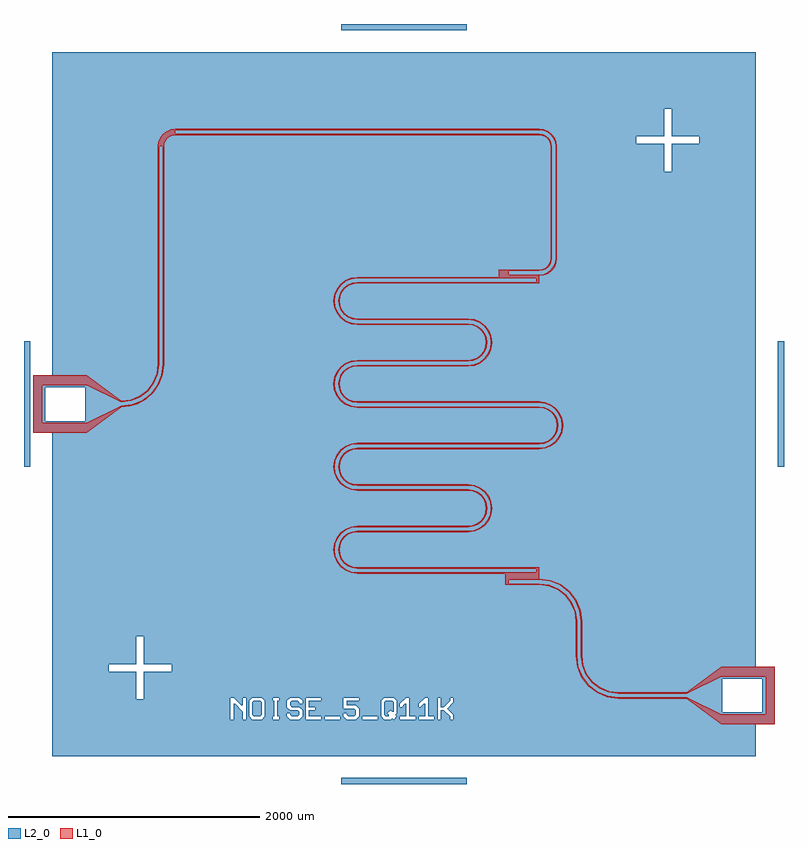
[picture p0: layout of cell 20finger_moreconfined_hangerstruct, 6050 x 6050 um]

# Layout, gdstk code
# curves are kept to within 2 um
import gdstk
lib = gdstk.Library(unit=1e-6, precision=1e-09)
def R(c, l, rs):  # rectangles x0, y0, x1, y1
    for r in rs: c.add(gdstk.rectangle(r[:2], r[2:], *l))
def P(c, l, *ps):  # polygons
    for p in ps: c.add(gdstk.Polygon(p, *l))
L1_0 = (1, 0)
L2_0 = (2, 0)

c_20finger_moreconfined_ha = lib.new_cell('20finger_moreconfined_hangerstruct')
P(c_20finger_moreconfined_ha, L1_0, [(2525,-2550),(2250,-2345),(1706.845,-2345),(1619.479,-2333.499),(1537.457,-2299.523),(1467.023,-2245.477),(1412.977,-2175.043),(1379.001,-2093.021),(1367.5,-2005.655),(1367.5,-1730.652),(1357.536,-1654.967),(1328.573,-1585.045),(1282.499,-1525.001),(1222.455,-1478.927),(1152.533,-1449.964),(1076.848,-1440),(807.5,-1440),(807.5,-1400),(832.5,-1400),(832.5,-1430),(1077.5,-1430),(1155.146,-1440.222),(1227.5,-1470.192),(1289.632,-1517.868),(1337.308,-1580),(1367.278,-1652.354),(1377.5,-1730),(1377.5,-2005),(1388.744,-2090.41),(1421.712,-2170),(1474.155,-2238.345),(1542.5,-2290.788),(1622.09,-2323.756),(1707.5,-2335),(2250,-2335),(2525,-2470),(2880,-2470),(2880,-2170),(2525,-2170),(2250,-2305),(1707.5,-2305),(1629.854,-2294.778),(1557.5,-2264.808),(1495.368,-2217.132),(1447.692,-2155),(1417.722,-2082.646),(1407.5,-2005),(1407.5,-1730),(1396.256,-1644.59),(1363.288,-1565),(1310.845,-1496.655),(1242.5,-1444.212),(1162.91,-1411.244),(1077.5,-1400),(807.5,-1400),(807.5,-1350),(1077.5,-1350),(1077.5,-1390),(1165.521,-1401.501),(1247.543,-1435.477),(1317.977,-1489.523),(1372.023,-1559.957),(1405.999,-1641.979),(1417.5,-1729.345),(1417.5,-2004.348),(1427.464,-2080.033),(1456.427,-2149.955),(1502.501,-2209.999),(1562.545,-2256.073),(1632.467,-2285.036),(1708.152,-2295),(2250,-2295),(2525,-2090),(2950,-2090),(2950,-2550)],
  [(-372.5,-1350),(-421.676,-1343.526),(-467.5,-1324.545),(-506.85,-1294.35),(-537.045,-1255),(-556.026,-1209.176),(-562.5,-1160),(-556.026,-1110.824),(-537.045,-1065),(-506.85,-1025.65),(-467.5,-995.455),(-421.676,-976.474),(-372.5,-970),(512.5,-970),(548.735,-965.23),(582.5,-951.244),(611.495,-928.995),(633.744,-900),(647.73,-866.235),(652.5,-830),(647.73,-793.765),(633.744,-760),(611.495,-731.005),(582.5,-708.756),(548.735,-694.77),(512.5,-690),(-372.5,-690),(-421.676,-683.526),(-467.5,-664.545),(-506.85,-634.35),(-537.045,-595),(-556.026,-549.176),(-562.5,-500),(-556.026,-450.824),(-537.045,-405),(-506.85,-365.65),(-467.5,-335.455),(-421.676,-316.474),(-372.5,-310),(1077.5,-310),(1113.735,-305.23),(1147.5,-291.244),(1176.495,-268.995),(1198.744,-240),(1212.73,-206.235),(1217.5,-170),(1212.73,-133.765),(1198.744,-100),(1176.495,-71.005),(1147.5,-48.756),(1113.735,-34.77),(1077.5,-30),(-372.5,-30),(-425.885,-22.346),(-474.97,0),(-512.298,31.328),(-540.43,71.121),(-557.515,116.761),(-562.428,165.246),(-554.846,213.385),(-535.268,258.013),(-504.983,296.192),(-465.981,325.412),(-420.83,343.75),(-372.5,350),(512.5,350),(548.735,354.77),(582.5,368.756),(611.495,391.005),(633.744,420),(647.73,453.765),(652.5,490),(647.73,526.235),(633.744,560),(611.495,588.995),(582.5,611.244),(548.735,625.23),(512.5,630),(-372.5,630),(-421.676,636.474),(-467.5,655.455),(-506.85,685.65),(-537.045,725),(-556.026,770.824),(-562.5,820),(-556.026,869.176),(-537.045,915),(-506.85,954.35),(-467.5,984.545),(-430.188,1000),(-372.5,1000),(-419.087,993.867),(-462.5,975.885),(-499.779,947.279),(-528.385,910),(-546.367,866.587),(-552.5,820),(-546.367,773.413),(-528.385,730),(-499.779,692.721),(-462.5,664.115),(-419.087,646.133),(-372.5,640),(512.5,640),(551.323,634.889),(587.5,619.904),(618.566,596.066),(642.404,565),(657.389,528.823),(662.5,490),(657.389,451.177),(642.404,415),(618.566,383.934),(587.5,360.096),(551.323,345.111),(512.5,340),(-372.5,340),(-419.087,333.867),(-462.5,315.885),(-499.779,287.279),(-528.385,250),(-546.367,206.587),(-552.5,160),(-546.367,113.413),(-528.385,70),(-499.779,32.721),(-462.5,4.115),(-419.087,-13.867),(-372.5,-20),(1077.5,-20),(1116.323,-25.111),(1152.5,-40.096),(1183.566,-63.934),(1207.404,-95),(1222.389,-131.177),(1227.5,-170),(1222.389,-208.823),(1207.404,-245),(1183.566,-276.066),(1152.5,-299.904),(1116.323,-314.889),(1077.5,-320),(-372.5,-320),(-419.087,-326.133),(-462.5,-344.115),(-499.779,-372.721),(-528.385,-410),(-546.367,-453.413),(-552.5,-500),(-546.367,-546.587),(-528.385,-590),(-499.779,-627.279),(-462.5,-655.885),(-419.087,-673.867),(-372.5,-680),(512.5,-680),(551.323,-685.111),(587.5,-700.096),(618.566,-723.934),(642.404,-755),(657.389,-791.177),(662.5,-830),(657.389,-868.823),(642.404,-905),(618.566,-936.066),(587.5,-959.904),(551.323,-974.889),(512.5,-980),(-372.5,-980),(-419.087,-986.133),(-462.5,-1004.115),(-499.779,-1032.721),(-528.385,-1070),(-546.367,-1113.413),(-552.5,-1160),(-546.367,-1206.587),(-528.385,-1250),(-499.779,-1287.279),(-462.5,-1315.885),(-419.087,-1333.867),(-372.5,-1340),(1052.5,-1340),(1052.5,-1310),(-372.5,-1310),(-411.323,-1304.889),(-447.5,-1289.904),(-478.566,-1266.066),(-502.404,-1235),(-517.389,-1198.823),(-522.5,-1160),(-517.389,-1121.177),(-502.404,-1085),(-478.566,-1053.934),(-447.5,-1030.096),(-411.323,-1015.111),(-372.5,-1010),(512.5,-1010),(559.087,-1003.867),(602.5,-985.885),(639.779,-957.279),(668.385,-920),(686.367,-876.587),(692.5,-830),(686.367,-783.413),(668.385,-740),(639.779,-702.721),(602.5,-674.115),(559.087,-656.133),(512.5,-650),(-372.5,-650),(-411.323,-644.889),(-447.5,-629.904),(-478.566,-606.066),(-502.404,-575),(-517.389,-538.823),(-522.5,-500),(-517.389,-461.177),(-502.404,-425),(-478.566,-393.934),(-447.5,-370.096),(-411.323,-355.111),(-372.5,-350),(1077.5,-350),(1124.087,-343.867),(1167.5,-325.885),(1204.779,-297.279),(1233.385,-260),(1251.367,-216.587),(1257.5,-170),(1251.367,-123.413),(1233.385,-80),(1204.779,-42.721),(1167.5,-14.115),(1124.087,3.867),(1077.5,10),(-372.5,10),(-411.323,15.111),(-447.5,30.096),(-478.566,53.934),(-502.404,85),(-517.389,121.177),(-522.5,160),(-517.389,198.823),(-502.404,235),(-478.566,266.066),(-447.5,289.904),(-411.323,304.889),(-372.5,310),(512.5,310),(559.087,316.133),(602.5,334.115),(639.779,362.721),(668.385,400),(686.367,443.413),(692.5,490),(686.367,536.587),(668.385,580),(639.779,617.279),(602.5,645.885),(559.087,663.867),(512.5,670),(-372.5,670),(-411.323,675.111),(-447.5,690.096),(-478.566,713.934),(-502.404,745),(-517.389,781.177),(-522.5,820),(-517.389,858.823),(-502.404,895),(-478.566,926.066),(-447.5,949.904),(-411.323,964.889),(-372.5,970),(1052.5,970),(1052.5,1000),(-430.188,1000),(-421.676,1003.526),(-372.5,1010),(752.5,1010),(752.5,1070),(1077.5,1070),(1100.794,1073.067),(1122.5,1082.058),(1141.14,1096.36),(1155.442,1115),(1164.433,1136.706),(1167.5,1160),(1167.5,2050),(1164.433,2073.294),(1155.442,2095),(1141.14,2113.64),(1122.5,2127.942),(1100.794,2136.933),(1077.5,2140),(-1820,2140),(-1843.294,2136.933),(-1865,2127.942),(-1883.64,2113.64),(-1897.942,2095),(-1906.933,2073.294),(-1910,2050),(-1910,315),(-1919.503,235.177),(-1947.48,159.817),(-1992.369,93.13),(-2051.658,38.847),(-2122.035,0),(-2184.808,-18.691),(-2250,-25),(-2525,-230),(-2950,-230),(-2950,230),(-2525,230),(-2250,25),(-2174.942,34.882),(-2105,63.853),(-2044.939,109.939),(-1998.853,170),(-1969.882,239.942),(-1960,315),(-1960,2050),(-1950,2050),(-1950,315),(-1960.222,237.354),(-1990.192,165),(-2037.868,102.868),(-2100,55.192),(-2172.354,25.222),(-2250,15),(-2525,150),(-2880,150),(-2880,-150),(-2525,-150),(-2250,-15),(-2164.59,-3.756),(-2085,29.212),(-2016.655,81.655),(-1964.212,150),(-1931.244,229.59),(-1920,315),(-1920,2050),(-1960,2050),(-1955.23,2086.235),(-1941.244,2120),(-1918.995,2148.995),(-1890,2171.244),(-1868.861,2180),(-1820,2180),(-1820,2150),(1077.5,2150),(1103.382,2146.593),(1127.5,2136.603),(1148.211,2120.711),(1164.103,2100),(1174.093,2075.882),(1177.5,2050),(1177.5,1160),(1174.093,1134.118),(1164.103,1110),(1148.211,1089.289),(1127.5,1073.397),(1103.382,1063.407),(1077.5,1060),(832.5,1060),(832.5,1030),(1077.5,1030),(1111.146,1034.43),(1142.5,1047.417),(1169.424,1068.076),(1190.083,1095),(1203.07,1126.354),(1207.5,1160),(1207.5,2050),(1203.07,2083.646),(1190.083,2115),(1169.424,2141.924),(1142.5,2162.583),(1111.146,2175.57),(1077.5,2180),(-1868.861,2180),(-1856.235,2185.23),(-1820,2190),(1077.5,2190),(1113.735,2185.23),(1147.5,2171.244),(1176.495,2148.995),(1198.744,2120),(1212.73,2086.235),(1217.5,2050),(1217.5,1160),(1212.73,1123.765),(1198.744,1090),(1176.495,1061.005),(1147.5,1038.756),(1113.735,1024.77),(1077.5,1020),(1077.5,960),(-372.5,960),(-408.735,955.23),(-442.5,941.244),(-471.495,918.995),(-493.744,890),(-507.73,856.235),(-512.5,820),(-507.73,783.765),(-493.744,750),(-471.495,721.005),(-442.5,698.756),(-408.735,684.77),(-372.5,680),(512.5,680),(561.676,673.526),(607.5,654.545),(646.85,624.35),(677.045,585),(696.026,539.176),(702.5,490),(696.026,440.824),(677.045,395),(646.85,355.65),(607.5,325.455),(561.676,306.474),(512.5,300),(-372.5,300),(-408.735,295.23),(-442.5,281.244),(-471.495,258.995),(-493.744,230),(-507.73,196.235),(-512.5,160),(-507.73,123.765),(-493.744,90),(-471.495,61.005),(-442.5,38.756),(-408.735,24.77),(-372.5,20),(1077.5,20),(1121.089,14.932),(1162.353,0),(1204.118,-28.339),(1236.949,-66.675),(1258.527,-112.302),(1267.33,-161.989),(1267.33,-178.012),(1259.187,-225.585),(1239.313,-269.582),(1208.991,-307.15),(1170.181,-335.862),(1125.386,-353.867),(1077.5,-360),(-372.5,-360),(-408.735,-364.77),(-442.5,-378.756),(-471.495,-401.005),(-493.744,-430),(-507.73,-463.765),(-512.5,-500),(-507.73,-536.235),(-493.744,-570),(-471.495,-598.995),(-442.5,-621.244),(-408.735,-635.23),(-372.5,-640),(512.5,-640),(561.676,-646.474),(607.5,-665.455),(646.85,-695.65),(677.045,-735),(696.026,-780.824),(702.5,-830),(696.026,-879.176),(677.045,-925),(646.85,-964.35),(607.5,-994.545),(561.676,-1013.526),(512.5,-1020),(-372.5,-1020),(-408.735,-1024.77),(-442.5,-1038.756),(-471.495,-1061.005),(-493.744,-1090),(-507.73,-1123.765),(-512.5,-1160),(-507.73,-1196.235),(-493.744,-1230),(-471.495,-1258.995),(-442.5,-1281.244),(-408.735,-1295.23),(-372.5,-1300),(1077.5,-1300),(1077.5,-1350)],
  [(-1950,2050),(-1945.57,2083.646),(-1932.583,2115),(-1911.924,2141.924),(-1885,2162.583),(-1853.646,2175.57),(-1820,2180),(-1820,2150),(-1845.882,2146.593),(-1870,2136.603),(-1890.711,2120.711),(-1906.603,2100),(-1916.593,2075.882),(-1920,2050)])
R(c_20finger_moreconfined_ha, L2_0, [(-500,-3025,500,-2975), (-3025,-500,-2975,500), (2975,-500,3025,500), (-500,2975,500,3025)])
P(c_20finger_moreconfined_ha, L2_0, [(-1194.76,-2487.38),(-1207.26,-2474.88),(-1207.26,-2374.88),(-1194.76,-2362.38),(-1144.76,-2362.38),(-1132.26,-2374.88),(-1132.26,-2474.88),(-1144.76,-2487.38)],
  [(-144.76,-2487.38),(-157.26,-2474.88),(-157.26,-2374.88),(-144.76,-2362.38),(-94.76,-2362.38),(-82.26,-2374.88),(-82.26,-2449.88),(-94.76,-2449.88),(-107.26,-2437.38),(-132.26,-2462.38),(-119.76,-2474.88),(-119.76,-2487.38)],
  [(-2798.631,-2805.134),(-2798.631,-1850),(-2130,-1850),(-2130,-2070),(-2350,-2070),(-2350,-2130),(-2130,-2130),(-2130,-2350),(-2070,-2350),(-2070,-2337.38),(-1282.26,-2337.38),(-1282.26,-2399.88),(-1294.76,-2399.88),(-1357.26,-2337.38),(-1382.26,-2337.38),(-1382.26,-2512.38),(-1357.26,-2512.38),(-1357.26,-2387.38),(-1344.76,-2387.38),(-1282.26,-2449.88),(-1282.26,-2512.38),(-1257.26,-2512.38),(-1257.26,-2337.38),(-1207.26,-2337.38),(-1232.26,-2362.38),(-1232.26,-2487.38),(-1207.26,-2512.38),(-1132.26,-2512.38),(-1107.26,-2487.38),(-1107.26,-2362.38),(-1132.26,-2337.38),(-1044.76,-2337.38),(-1044.76,-2362.38),(-1032.26,-2362.38),(-1032.26,-2487.38),(-1044.76,-2487.38),(-1044.76,-2512.38),(-994.76,-2512.38),(-994.76,-2487.38),(-1007.26,-2487.38),(-1007.26,-2362.38),(-994.76,-2362.38),(-994.76,-2337.38),(-907.26,-2337.38),(-932.26,-2362.38),(-932.26,-2412.38),(-907.26,-2437.38),(-844.76,-2437.38),(-832.26,-2449.88),(-832.26,-2474.88),(-844.76,-2487.38),(-894.76,-2487.38),(-907.26,-2474.88),(-907.26,-2462.38),(-932.26,-2462.38),(-932.26,-2487.38),(-907.26,-2512.38),(-832.26,-2512.38),(-807.26,-2487.38),(-807.26,-2437.38),(-832.26,-2412.38),(-894.76,-2412.38),(-907.26,-2399.88),(-907.26,-2374.88),(-894.76,-2362.38),(-844.76,-2362.38),(-832.26,-2374.88),(-832.26,-2387.38),(-807.26,-2387.38),(-807.26,-2362.38),(-832.26,-2337.38),(-782.26,-2337.38),(-782.26,-2512.38),(-657.26,-2512.38),(-657.26,-2487.38),(-632.26,-2487.38),(-632.26,-2512.38),(-507.26,-2512.38),(-507.26,-2487.38),(-757.26,-2487.38),(-757.26,-2437.38),(-707.26,-2437.38),(-707.26,-2412.38),(-757.26,-2412.38),(-757.26,-2362.38),(-657.26,-2362.38),(-657.26,-2337.38),(-482.26,-2337.38),(-482.26,-2424.88),(-394.76,-2424.88),(-382.26,-2437.38),(-382.26,-2474.88),(-394.76,-2487.38),(-444.76,-2487.38),(-457.26,-2474.88),(-457.26,-2462.38),(-482.26,-2462.38),(-482.26,-2487.38),(-457.26,-2512.38),(-382.26,-2512.38),(-357.26,-2487.38),(-332.26,-2487.38),(-332.26,-2512.38),(-207.26,-2512.38),(-207.26,-2487.38),(-357.26,-2487.38),(-357.26,-2424.88),(-382.26,-2399.88),(-457.26,-2399.88),(-457.26,-2362.38),(-357.26,-2362.38),(-357.26,-2337.38),(-157.26,-2337.38),(-182.26,-2362.38),(-182.26,-2487.38),(-157.26,-2512.38),(-107.26,-2512.38),(-94.76,-2499.88),(-82.26,-2512.38),(-57.26,-2487.38),(-69.76,-2474.88),(-57.26,-2462.38),(-57.26,-2362.38),(-82.26,-2337.38),(17.74,-2337.38),(-32.26,-2387.38),(-32.26,-2412.38),(-19.76,-2412.38),(5.24,-2387.38),(17.74,-2387.38),(17.74,-2487.38),(-32.26,-2487.38),(-32.26,-2512.38),(92.74,-2512.38),(92.74,-2487.38),(42.74,-2487.38),(42.74,-2337.38),(167.74,-2337.38),(117.74,-2387.38),(117.74,-2412.38),(130.24,-2412.38),(155.24,-2387.38),(167.74,-2387.38),(167.74,-2487.38),(117.74,-2487.38),(117.74,-2512.38),(242.74,-2512.38),(242.74,-2487.38),(192.74,-2487.38),(192.74,-2337.38),(367.74,-2337.38),(367.74,-2362.38),(317.74,-2412.38),(292.74,-2412.38),(292.74,-2337.38),(267.74,-2337.38),(267.74,-2512.38),(292.74,-2512.38),(292.74,-2437.38),(317.74,-2437.38),(367.74,-2487.38),(367.74,-2512.38),(392.74,-2512.38),(392.74,-2474.88),(342.74,-2424.88),(392.74,-2374.88),(392.74,-2337.38),(-2070,-2337.38),(-2070,-2186.019),(2532.926,-2186.019),(2532.926,-2455.267),(2851.322,-2455.267),(2851.322,-2186.019),(-2070,-2186.019),(-2070,-2130),(-1850,-2130),(-1850,-2070),(-2070,-2070),(-2070,-1850),(-2798.631,-1850),(-2798.631,-230),(-2950,-230),(-2950,133.315),(-2856.283,133.315),(-2856.283,-135.933),(-2537.887,-135.933),(-2537.887,133.315),(-2950,133.315),(-2950,230),(-2798.631,230),(-2798.631,2350),(2070,2350),(2070,2130),(1850,2130),(1850,2070),(2070,2070),(2070,1850),(2130,1850),(2130,2070),(2350,2070),(2350,2130),(2130,2130),(2130,2350),(-2798.631,2350),(-2798.631,2800.531),(2801.366,2800.531),(2801.366,-2090),(2950,-2090),(2950,-2550),(2801.366,-2550),(2801.366,-2805.134)])

lib.write_gds('20finger_moreconfined_hangerstruct.gds')
